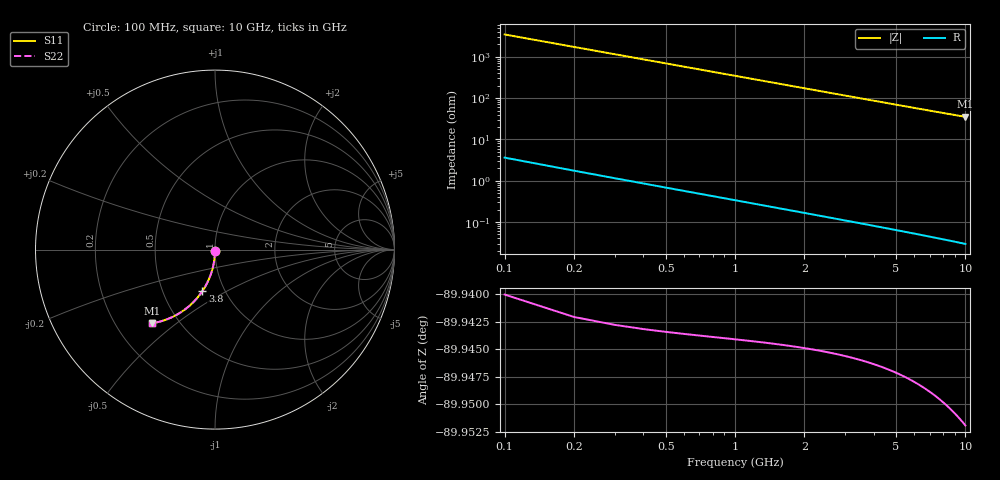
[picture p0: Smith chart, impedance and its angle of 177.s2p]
# Hz S RI R 50.00
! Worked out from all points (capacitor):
!   100 points, 100 MHz to 10 GHz, reference 50 ohm
!   read as one part in shunt: C = 460 fF near 100 MHz
!   lowest |Z| = 35.2 ohm at 10 GHz (marker M1)
!   S11 on the Smith chart (normalised r, x): 100 MHz: 1.00, -0.01; 3.8 GHz: 0.79, -0.39; 10 GHz: 0.35, -0.41
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1e8  0.000129 -0.00656  0.9998 -0.00788  0.9998 -0.00788  0.000129 -0.00656
2e8  -3.14e-05 -0.0131  0.9996 -0.0158  0.9996 -0.0158  -3.14e-05 -0.0131
3e8  -0.000296 -0.0197  0.9993 -0.0236  0.9993 -0.0236  -0.000296 -0.0197
4e8  -0.000663 -0.0262  0.9989 -0.0315  0.9989 -0.0315  -0.000663 -0.0262
5e8  -0.00113 -0.0327  0.9985 -0.0394  0.9985 -0.0394  -0.00113 -0.0327
6e8  -0.00171 -0.0393  0.9979 -0.0472  0.9979 -0.0472  -0.00171 -0.0393
7e8  -0.00238 -0.0458  0.9972 -0.055  0.9972 -0.055  -0.00238 -0.0458
8e8  -0.00316 -0.0523  0.9964 -0.0629  0.9964 -0.0629  -0.00316 -0.0523
9e8  -0.00404 -0.0588  0.9955 -0.0707  0.9955 -0.0707  -0.00404 -0.0588
1.1e9  -0.00611 -0.0717  0.9934 -0.0862  0.9934 -0.0862  -0.00611 -0.0717
1.4e9  -0.00995 -0.0909  0.9895 -0.1094  0.9895 -0.1094  -0.00995 -0.0909
1.8e9  -0.0165 -0.1161  0.9829 -0.1399  0.9829 -0.1399  -0.0165 -0.1161
2.1e9  -0.0223 -0.1346  0.9769 -0.1624  0.9769 -0.1624  -0.0223 -0.1346
2.5e9  -0.0315 -0.1588  0.9676 -0.1919  0.9676 -0.1919  -0.0315 -0.1588
2.9e9  -0.042 -0.1821  0.9569 -0.2206  0.9569 -0.2206  -0.042 -0.1821
3.4e9  -0.057 -0.2101  0.9416 -0.2552  0.9416 -0.2552  -0.057 -0.2101
3.8e9  -0.0703 -0.2314  0.928 -0.2819  0.928 -0.2819  -0.0703 -0.2314
4.4e9  -0.0924 -0.2613  0.9055 -0.3199  0.9055 -0.3199  -0.0924 -0.2613
5.1e9  -0.1207 -0.2929  0.8765 -0.3609  0.8765 -0.3609  -0.1207 -0.2929
6.7e9  -0.1932 -0.3511  0.8024 -0.4409  0.8024 -0.4409  -0.1932 -0.3511
8.4e9  -0.2757 -0.3913  0.7174 -0.5048  0.7174 -0.5048  -0.2757 -0.3913
1e10  -0.3528 -0.4107  0.6374 -0.5469  0.6374 -0.5469  -0.3528 -0.4107
